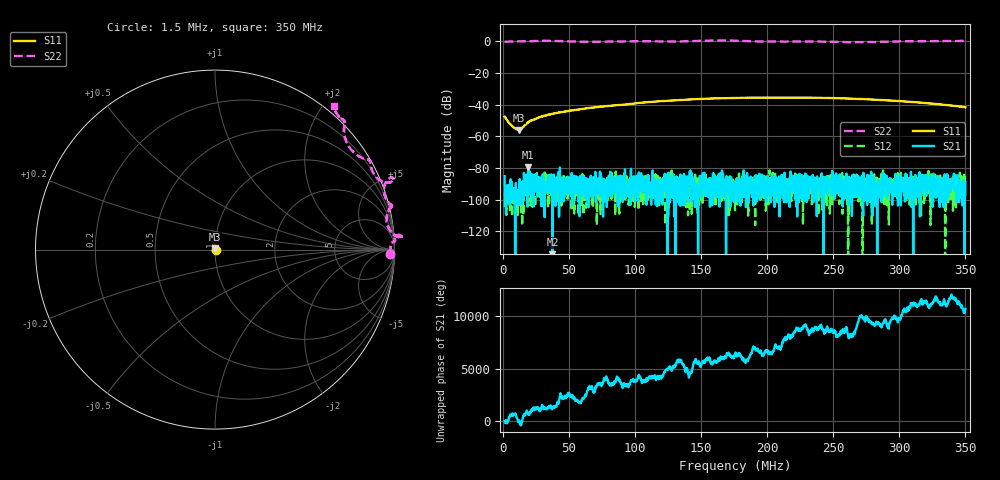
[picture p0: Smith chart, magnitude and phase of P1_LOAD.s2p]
# Hz S RI R 50
! RAW DATA - UNCALIBRATED
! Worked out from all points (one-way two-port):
!   1601 points, 1.5 MHz to 350 MHz, reference 50 ohm
!   highest |S21| = -79.34 dB at 19.36 MHz (marker M1); lowest = -186.3 dB at 37.66 MHz (marker M2)
!   lowest |S11| = -55.9 dB at 12.61 MHz (marker M3), VSWR 1.00, Z = 50 + j0.158 ohm
!   |S11| at or under -10 dB: start of sweep to end of sweep
!   |S22| runs from -0.5 to 0.6 dB; largest |S21 - S12| = 0.00012
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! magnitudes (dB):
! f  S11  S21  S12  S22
! 1.5 MHz  -47.6  -85.2  -104.7  -0.2
! 2.807 MHz  -49.0  -98.0  -109.7  -0.2
! 5.638 MHz  -52.2  -97.0  -107.7  -0.2
! 8.688 MHz  -54.5  -96.5  -103.6  -0.1
! 10.87 MHz  -55.7  -101.8  -107.6  0.0
! 12.61 MHz  -55.9  -99.7  -96.5  0.0
! 14.57 MHz  -54.7  -96.7  -105.5  0.0
! 19.36 MHz  -51.2  -79.3  -86.1  0.1
! 21.54 MHz  -49.9  -88.7  -101.6  0.1
! 28.94 MHz  -47.5  -86.6  -96.4  0.3
! 37.66 MHz  -45.7  -186.3  -92.7  0.3
! 59.66 MHz  -42.8  -97.4  -93.6  -0.2
! 78.39 MHz  -40.9  -89.0  -87.7  -0.2
! 117.8 MHz  -37.9  -87.5  -91.4  0.0
! 147 MHz  -36.5  -90.5  -102.9  0.2
! 175.8 MHz  -35.7  -94.3  -106.8  0.5
! 202.5 MHz  -35.5  -90.5  -89.4  -0.2
! 233.9 MHz  -35.6  -92.4  -102.9  -0.1
! 266.4 MHz  -36.3  -98.3  -94.0  -0.5
! 292.1 MHz  -37.3  -87.4  -115.7  -0.2
! 324.5 MHz  -39.3  -98.6  -93.0  0.1
! 350 MHz  -41.7  -88.8  -85.4  0.4
